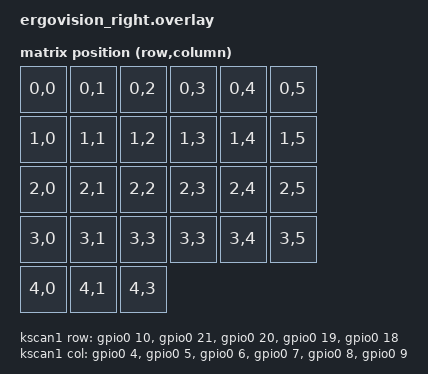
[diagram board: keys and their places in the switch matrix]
#include <dt-bindings/zmk/matrix_transform.h>
#include "ergovision.dtsi"

/ {
    chosen {
        zmk,kscan = &kscan1;
        zmk,matrix_transform = &default_transform;
    };

    default_transform: keymap_transform_1 {
        compatible = "zmk,matrix-transform";
        columns = <6>;
        rows = <5>;

        map = <
            RC(0,0) RC(0,1) RC(0,2) RC(0,3) RC(0,4) RC(0,5)
            RC(1,0) RC(1,1) RC(1,2) RC(1,3) RC(1,4) RC(1,5)
            RC(2,0) RC(2,1) RC(2,2) RC(2,3) RC(2,4) RC(2,5)
            RC(3,0) RC(3,1) RC(3,3) RC(3,3) RC(3,4) RC(3,5)
            RC(4,0) RC(4,1) RC(4,3)
        >;
    };

    kscan1: kscan {
        compatible = "zmk,kscan-gpio-matrix";
        wakeup-source;

        diode-direction = "col2row";
        row-gpios = 
            <&gpio0 10 (GPIO_ACTIVE_HIGH | GPIO_PULL_DOWN)>,
            <&gpio0 21 (GPIO_ACTIVE_HIGH | GPIO_PULL_DOWN)>,
            <&gpio0 20 (GPIO_ACTIVE_HIGH | GPIO_PULL_DOWN)>,
            <&gpio0 19 (GPIO_ACTIVE_HIGH | GPIO_PULL_DOWN)>,
            <&gpio0 18 (GPIO_ACTIVE_HIGH | GPIO_PULL_DOWN)>;

        col-gpios = 
            <&gpio0 4 (GPIO_ACTIVE_HIGH | GPIO_PULL_DOWN)>,
            <&gpio0 5 (GPIO_ACTIVE_HIGH | GPIO_PULL_DOWN)>,
            <&gpio0 6 (GPIO_ACTIVE_HIGH | GPIO_PULL_DOWN)>,
            <&gpio0 7 (GPIO_ACTIVE_HIGH | GPIO_PULL_DOWN)>,
            <&gpio0 8 (GPIO_ACTIVE_HIGH | GPIO_PULL_DOWN)>,
            <&gpio0 9 (GPIO_ACTIVE_HIGH | GPIO_PULL_DOWN)>;
    };
};
